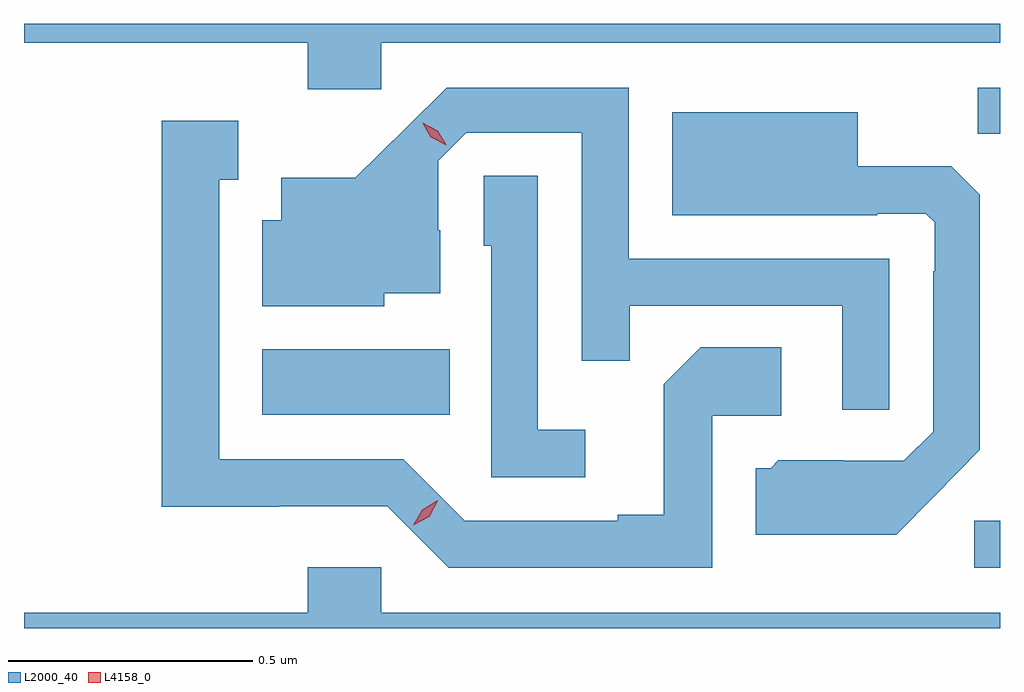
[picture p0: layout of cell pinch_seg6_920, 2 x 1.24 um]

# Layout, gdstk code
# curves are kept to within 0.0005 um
import gdstk
lib = gdstk.Library(unit=1e-6, precision=1e-09)
def R(c, l, rs):  # rectangles x0, y0, x1, y1
    for r in rs: c.add(gdstk.rectangle(r[:2], r[2:], *l))
def P(c, l, *ps):  # polygons
    for p in ps: c.add(gdstk.Polygon(p, *l))
L2000_40 = (2000, 40)
L4158_0 = (4158, 0)

pinch_seg6_920 = lib.new_cell('pinch_seg6_920')
R(pinch_seg6_920, L2000_40, [(148.821,915.624,148.874,915.72), (147.362,915.938,147.746,916.072), (148.828,916.513,148.874,916.608)])
P(pinch_seg6_920, L2000_40, [(147.606,916.7),(148.874,916.7),(148.874,916.739),(146.874,916.739),(146.874,916.7),(147.455,916.7),(147.455,916.605),(147.606,916.605)],
  [(148.647,916.257),(148.113,916.257),(148.113,916.608),(147.74,916.608),(147.553,916.423),(147.401,916.423),(147.401,916.336),(147.362,916.336),(147.362,916.16),(147.612,916.16),(147.612,916.187),(147.727,916.187),(147.727,916.316),(147.723,916.316),(147.723,916.458),(147.78,916.515),(148.017,916.515),(148.017,916.048),(148.115,916.048),(148.115,916.161),(148.551,916.161),(148.551,915.948),(148.647,915.948)],
  [(148.741,915.773),(148.833,915.866),(148.833,916.388),(148.774,916.447),(148.582,916.447),(148.582,916.558),(148.202,916.558),(148.202,916.346),(148.622,916.346),(148.622,916.35),(148.722,916.35),(148.74,916.332),(148.74,916.232),(148.737,916.232),(148.737,915.903),(148.677,915.843),(148.554,915.843),(148.554,915.844),(148.42,915.844),(148.404,915.828),(148.373,915.828),(148.373,915.692),(148.661,915.692)],
  [(148.284,915.936),(148.426,915.936),(148.426,916.076),(148.261,916.076),(148.185,916),(148.185,915.733),(148.091,915.733),(148.091,915.72),(147.777,915.72),(147.651,915.846),(147.274,915.846),(147.274,916.419),(147.313,916.419),(147.313,916.54),(147.156,916.54),(147.156,915.749),(147.396,915.749),(147.396,915.75),(147.618,915.75),(147.744,915.624),(148.284,915.624)],
  [(148.024,915.907),(147.927,915.907),(147.927,916.427),(147.816,916.427),(147.816,916.284),(147.831,916.284),(147.831,915.81),(148.024,915.81)],
  [(148.874,915.532),(147.606,915.532),(147.606,915.625),(147.455,915.625),(147.455,915.532),(146.874,915.532),(146.874,915.5),(148.874,915.5)])
P(pinch_seg6_920, L4158_0, [(147.739,916.49),(147.708,916.506),(147.691,916.535),(147.691,916.536),(147.691,916.536),(147.722,916.52),(147.739,916.491),(147.739,916.49)],
  [(147.672,915.711),(147.672,915.711),(147.69,915.743),(147.722,915.762),(147.722,915.762),(147.722,915.761),(147.704,915.729),(147.672,915.711)])

lib.write_gds('pinch_seg6_920.gds')
